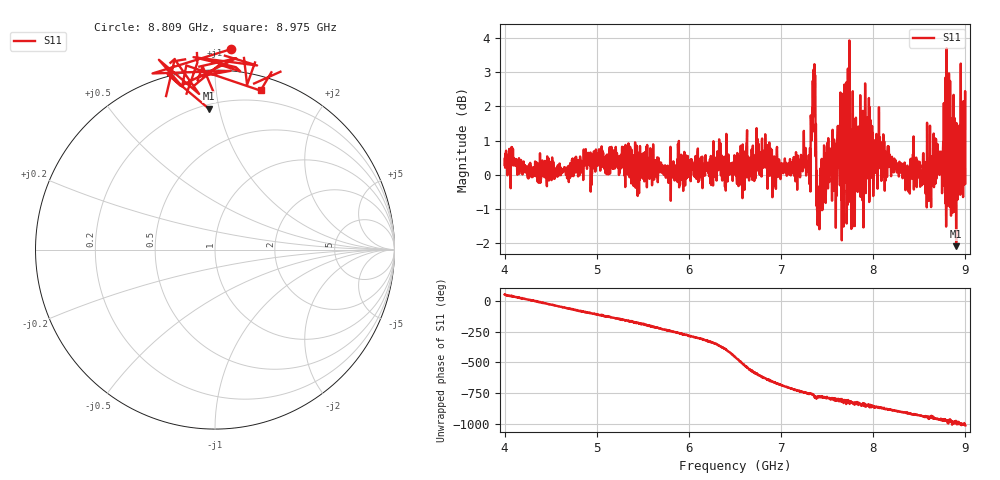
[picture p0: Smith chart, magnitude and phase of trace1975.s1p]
! Created with skrf 1.8.0 (http://scikit-rf.org).
# Hz S RI R 50.0
!freq ReS11 ImS11
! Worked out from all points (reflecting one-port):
!   1601 points, 4 GHz to 9 GHz, reference 50 ohm
!   lowest |S11| = -2.1 dB at 8.9 GHz (marker M1), VSWR 8.38, Z = 11.3 + j46.5 ohm
!   phase of S11 starts at 50 deg and turns -1063 deg over the sweep
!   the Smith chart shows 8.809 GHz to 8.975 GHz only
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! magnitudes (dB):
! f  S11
! 4 GHz  0.3
! 4.625 GHz  0.1
! 5.25 GHz  0.1
! 5.875 GHz  0.5
! 6.5 GHz  0.1
! 6.806 GHz  0.4
! 6.922 GHz  -0.1
! 7.125 GHz  0.3
! 7.294 GHz  0.2
! 7.347 GHz  1.7
! 7.369 GHz  2.9
! 7.409 GHz  -1.1
! 7.481 GHz  -0.6
! 7.616 GHz  1.4
! 7.681 GHz  1.2
! 7.75 GHz  -0.8
! 7.775 GHz  1.1
! 7.8 GHz  -1.5
! 7.872 GHz  0.9
! 7.928 GHz  0.4
! 7.981 GHz  -0.1
! 8.375 GHz  0.2
! 8.612 GHz  -0.4
! 8.822 GHz  3.0
! 8.875 GHz  0.8
! 8.9 GHz  -2.1
! 8.972 GHz  0.3
! 9 GHz  -0.2
